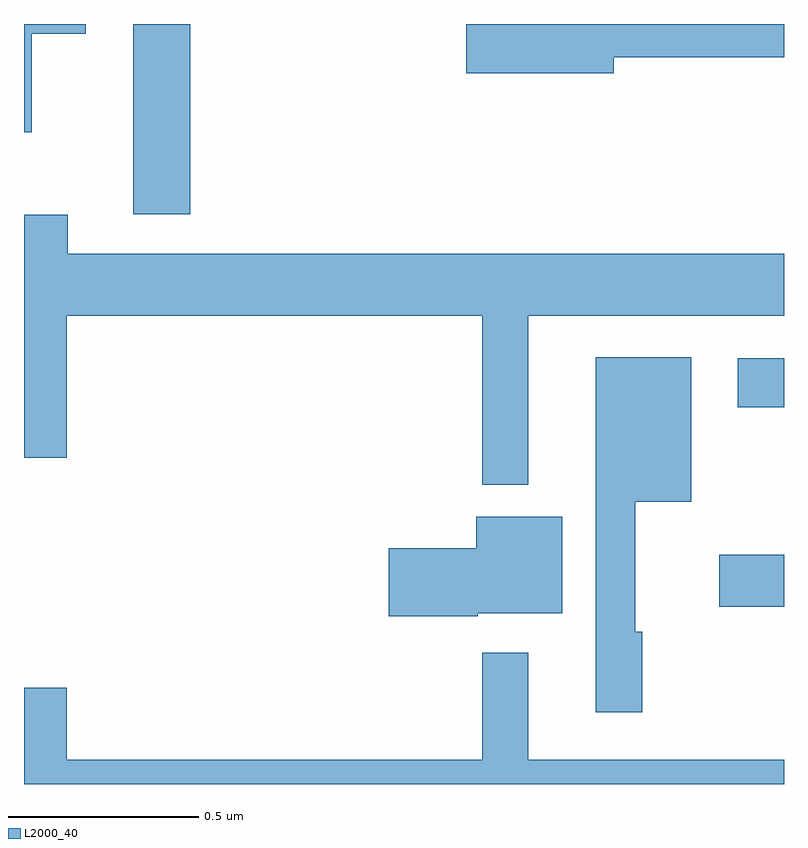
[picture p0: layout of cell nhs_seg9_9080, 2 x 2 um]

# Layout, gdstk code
import gdstk
lib = gdstk.Library(unit=1e-6, precision=1e-09)
def R(c, l, rs):  # rectangles x0, y0, x1, y1
    for r in rs: c.add(gdstk.rectangle(r[:2], r[2:], *l))
def P(c, l, *ps):  # polygons
    for p in ps: c.add(gdstk.Polygon(p, *l))
L2000_40 = (2000, 40)

nhs_seg9_9080 = lib.new_cell('nhs_seg9_9080')
R(nhs_seg9_9080, L2000_40, [(226.83,1216.966,227,1217.103), (226.878,1217.491,227,1217.62), (225.287,1218,225.437,1218.5)])
P(nhs_seg9_9080, L2000_40, [(225.02,1218.475),(225.163,1218.475),(225.163,1218.5),(225,1218.5),(225,1218.215),(225.02,1218.215)],
  [(226.552,1218.412),(227,1218.412),(227,1218.5),(226.164,1218.5),(226.164,1218.37),(226.552,1218.37)],
  [(226.327,1217.732),(227,1217.732),(227,1217.896),(225.115,1217.896),(225.115,1217.998),(225,1217.998),(225,1217.358),(225.112,1217.358),(225.112,1217.732),(226.206,1217.732),(226.206,1217.288),(226.327,1217.288)],
  [(226.627,1216.901),(226.609,1216.901),(226.609,1217.243),(226.756,1217.243),(226.756,1217.623),(226.505,1217.623),(226.505,1216.689),(226.627,1216.689)],
  [(226.194,1216.949),(226.417,1216.949),(226.417,1217.203),(226.19,1217.203),(226.19,1217.12),(225.96,1217.12),(225.96,1216.942),(226.194,1216.942)],
  [(227,1216.564),(226.327,1216.564),(226.327,1216.846),(226.206,1216.846),(226.206,1216.564),(225.112,1216.564),(225.112,1216.753),(225,1216.753),(225,1216.5),(227,1216.5)])

lib.write_gds('nhs_seg9_9080.gds')
